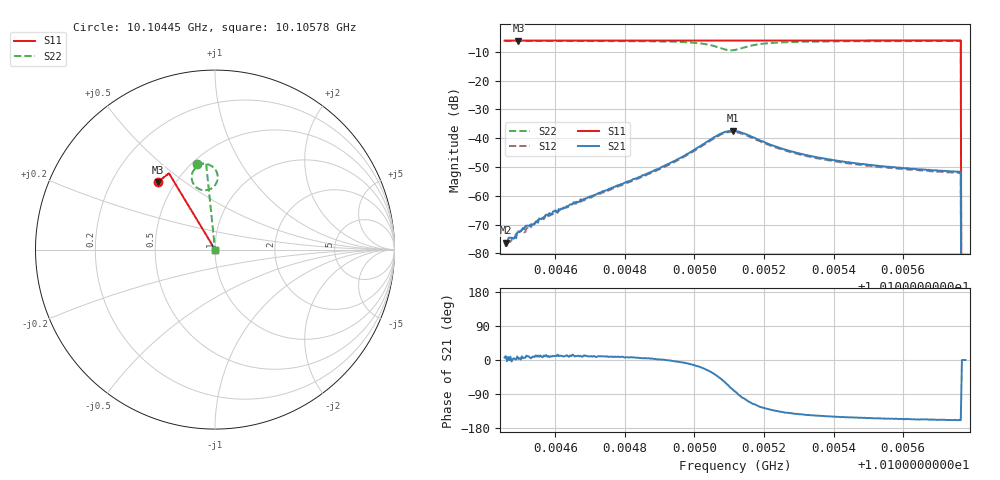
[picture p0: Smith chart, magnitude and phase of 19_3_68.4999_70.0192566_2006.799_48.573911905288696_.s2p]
#  HZ  S  RI  R  50.00
! Rohde & Schwarz Vector Network Analyzer
! Rohde-Schwarz,ZNB20-2Port,1311601062101988,3.16
! Created: UTC 3/20/2024, 4:49:21 PM
! freq[Hz]  re:S11  im:S11  re:S21  im:S21  re:S12  im:S12  re:S22  im:S22
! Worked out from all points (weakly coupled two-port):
!   401 points, 10.10445 GHz to 10.10578 GHz, reference 50 ohm
!   highest |S21| = -37.36 dB at 10.10511 GHz (marker M1); lowest = -76.3 dB at 10.10446 GHz (marker M2)
!   lowest |S11| = -6.2 dB at 10.10449 GHz (marker M3), VSWR 2.94, Z = 20.2 + j20.1 ohm
!   |S11| at or under -10 dB: 10.10577 GHz to end of sweep
!   |S22| runs from - to -6.3 dB; largest |S21 - S12| = 0.0016
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1.0104454e10  -0.3189 0.3755  0.000155 1.84e-05  0.000151 -1.9e-05  -0.1013 0.4743
1.0104457e10  -0.3187 0.3757  0.000151 2.73e-05  0.000133 1.22e-05  -0.101 0.4743
1.0104477e10  -0.3178 0.3765  0.000182 5.94e-06  0.000185 6.78e-05  -0.0993 0.4748
1.0104494e10  -0.317 0.377  0.000233 1.08e-05  0.000238 4.79e-05  -0.0979 0.4749
1.0104517e10  -0.316 0.3783  0.000294 6e-05  0.00027 3.77e-05  -0.0957 0.4755
1.010455e10  -0.3143 0.3794  0.000334 7.06e-05  0.000366 0.000101  -0.0927 0.476
1.0104576e10  -0.3132 0.3806  0.000461 7.01e-05  0.000419 0.000109  -0.0902 0.4765
1.0104676e10  -0.3085 0.3847  0.000818 0.000124  0.000786 0.00022  -0.0795 0.4779
1.0104898e10  -0.2981 0.3934  0.00295 9.62e-05  0.00284 0.000346  -0.0417 0.4755
1.0104997e10  -0.2931 0.3971  0.00601 -0.00139  0.00584 -0.000794  -0.00475 0.4536
1.0105054e10  -0.2902 0.3991  0.00827 -0.00578  0.00839 -0.00479  0.0151 0.4004
1.0105083e10  -0.2888 0.3997  0.00709 -0.0103  0.00776 -0.00924  -0.00565 0.3523
1.010511e10  -0.2878 0.4003  0.00292 -0.0132  0.00392 -0.0122  -0.0576 0.3305
1.0105117e10  -0.2876 0.4007  0.00164 -0.0131  0.00263 -0.0124  -0.0718 0.332
1.0105153e10  -0.2863 0.4021  -0.00345 -0.0108  -0.00245 -0.0107  -0.1224 0.37
1.0105203e10  -0.2841 0.4043  -0.00513 -0.0067  -0.00435 -0.00686  -0.1282 0.4201
1.0105262e10  -0.2813 0.4066  -0.00477 -0.00413  -0.00417 -0.00441  -0.1147 0.4483
1.0105339e10  -0.2775 0.4095  -0.00401 -0.0027  -0.00358 -0.0029  -0.0986 0.4638
1.0105561e10  -0.2666 0.4175  -0.00287 -0.00135  -0.00262 -0.0015  -0.0688 0.4784
1.0105759e10  -0.2566 0.4244  -0.00243 -0.000966  -0.00222 -0.00112  -0.0503 0.4832
1.0105776e10  0 0  0 0  0 0  0 0
1.0105779e10  0 0  0 0  0 0  0 0
